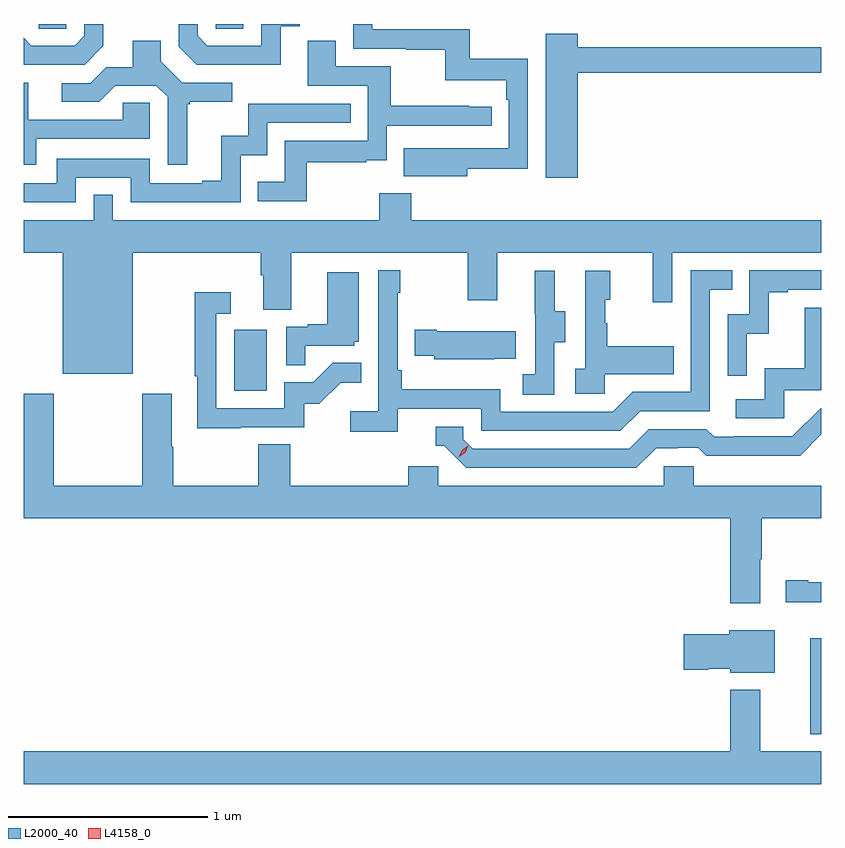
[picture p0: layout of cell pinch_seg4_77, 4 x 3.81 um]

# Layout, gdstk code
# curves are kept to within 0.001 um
import gdstk
lib = gdstk.Library(unit=1e-6, precision=1e-09)
def R(c, l, rs):  # rectangles x0, y0, x1, y1
    for r in rs: c.add(gdstk.rectangle(r[:2], r[2:], *l))
def P(c, l, *ps):  # polygons
    for p in ps: c.add(gdstk.Polygon(p, *l))
L2000_40 = (2000, 40)
L4158_0 = (4158, 0)

pinch_seg4_77 = lib.new_cell('pinch_seg4_77')
R(pinch_seg4_77, L2000_40, [(1059.983,819.713,1060.039,820.195), (1057.094,821.436,1057.258,821.743), (1056.115,823.252,1056.252,823.275), (1057.002,823.252,1057.141,823.275)])
P(pinch_seg4_77, L2000_40, [(1058.263,822.55),(1058.568,822.55),(1058.568,823.102),(1058.275,823.102),(1058.275,823.248),(1057.788,823.248),(1057.788,823.275),(1057.692,823.275),(1057.692,823.152),(1057.957,823.152),(1057.957,823.147),(1058.154,823.147),(1058.154,822.992),(1058.459,822.992),(1058.459,822.896),(1058.472,822.896),(1058.472,822.651),(1058.159,822.651),(1058.159,822.652),(1057.945,822.652),(1057.945,822.512),(1058.263,822.512)],
  [(1057.327,823.263),(1057.423,823.263),(1057.423,823.275),(1057.23,823.275),(1057.23,823.167),(1056.96,823.167),(1056.912,823.215),(1056.912,823.275),(1056.816,823.275),(1056.816,823.161),(1056.906,823.071),(1057.327,823.07)],
  [(1056.439,823.165),(1056.439,823.275),(1056.342,823.275),(1056.342,823.215),(1056.294,823.167),(1056.078,823.167),(1056.039,823.206),(1056.039,823.071),(1056.345,823.071)],
  [(1058.818,823.03),(1060.039,823.03),(1060.039,823.159),(1058.818,823.159),(1058.818,823.225),(1058.657,823.225),(1058.657,822.504),(1058.818,822.504)],
  [(1057.459,822.582),(1057.757,822.582),(1057.757,822.593),(1057.86,822.593),(1057.86,822.765),(1058.386,822.765),(1058.386,822.861),(1058.273,822.861),(1058.273,822.866),(1057.88,822.866),(1057.88,823.062),(1057.603,823.062),(1057.603,823.19),(1057.463,823.19),(1057.463,822.966),(1057.764,822.966),(1057.764,822.69),(1057.348,822.69),(1057.348,822.484),(1057.213,822.484),(1057.213,822.387),(1057.459,822.387)],
  [(1056.859,822.873),(1056.871,822.873),(1056.871,822.884),(1057.084,822.884),(1057.084,822.981),(1056.834,822.981),(1056.727,823.088),(1056.727,823.19),(1056.587,823.19),(1056.587,823.058),(1056.452,823.058),(1056.372,822.978),(1056.231,822.978),(1056.231,822.885),(1056.418,822.885),(1056.499,822.966),(1056.705,822.966),(1056.762,822.909),(1056.762,822.57),(1056.859,822.57)],
  [(1056.103,822.699),(1056.672,822.699),(1056.672,822.879),(1056.535,822.879),(1056.535,822.795),(1056.061,822.795),(1056.061,822.981),(1056.039,822.981),(1056.039,822.57),(1056.103,822.57)],
  [(1056.3,822.504),(1056.576,822.504),(1056.576,822.381),(1057.128,822.381),(1057.128,822.617),(1057.26,822.617),(1057.26,822.78),(1057.679,822.78),(1057.679,822.876),(1057.164,822.876),(1057.164,822.715),(1057.031,822.715),(1057.031,822.49),(1056.935,822.49),(1056.935,822.477),(1056.672,822.477),(1056.672,822.6),(1056.204,822.6),(1056.204,822.477),(1056.039,822.477),(1056.039,822.381),(1056.3,822.381)],
  [(1056.586,822.128),(1057.229,822.128),(1057.229,822.016),(1057.241,822.016),(1057.241,821.842),(1057.381,821.842),(1057.381,822.128),(1058.266,822.128),(1058.266,821.889),(1058.413,821.889),(1058.413,822.128),(1059.194,822.128),(1059.194,821.88),(1059.291,821.88),(1059.291,822.128),(1060.039,822.128),(1060.039,822.292),(1057.982,822.292),(1057.982,822.427),(1057.822,822.427),(1057.822,822.292),(1056.486,822.292),(1056.486,822.419),(1056.39,822.419),(1056.39,822.292),(1056.039,822.292),(1056.039,822.128),(1056.236,822.128),(1056.236,821.522),(1056.586,821.522)],
  [(1057.916,821.346),(1058.334,821.346),(1058.334,821.235),(1059.031,821.235),(1059.13,821.334),(1059.48,821.334),(1059.48,821.943),(1059.593,821.943),(1059.593,822.039),(1059.384,822.039),(1059.384,821.43),(1059.093,821.43),(1058.994,821.331),(1058.43,821.331),(1058.43,821.443),(1057.934,821.443),(1057.934,821.539),(1057.914,821.539),(1057.914,821.927),(1057.927,821.927),(1057.927,822.04),(1057.818,822.04),(1057.818,821.332),(1057.677,821.332),(1057.677,821.23),(1057.916,821.23)],
  [(1059.666,821.723),(1059.776,821.723),(1059.776,821.931),(1059.871,821.931),(1059.871,821.943),(1060.039,821.943),(1060.039,822.039),(1059.678,822.039),(1059.678,821.82),(1059.57,821.82),(1059.57,821.511),(1059.666,821.511)],
  [(1058.952,821.519),(1059.299,821.519),(1059.299,821.659),(1058.965,821.659),(1058.965,821.774),(1058.955,821.774),(1058.955,821.892),(1058.98,821.892),(1058.98,822.037),(1058.856,822.037),(1058.856,821.546),(1058.805,821.546),(1058.805,821.421),(1058.952,821.421)],
  [(1058.7,821.68),(1058.755,821.68),(1058.755,821.835),(1058.701,821.835),(1058.701,822.037),(1058.603,822.037),(1058.603,821.823),(1058.604,821.823),(1058.604,821.519),(1058.541,821.519),(1058.541,821.416),(1058.7,821.416)],
  [(1057.451,821.661),(1057.698,821.661),(1057.698,821.682),(1057.72,821.682),(1057.72,822.031),(1057.562,822.031),(1057.562,821.77),(1057.463,821.77),(1057.463,821.757),(1057.356,821.757),(1057.356,821.563),(1057.451,821.563)],
  [(1057.127,821.253),(1057.446,821.253),(1057.446,821.37),(1057.522,821.37),(1057.629,821.477),(1057.733,821.477),(1057.733,821.576),(1057.589,821.576),(1057.491,821.478),(1057.347,821.478),(1057.347,821.349),(1057.005,821.349),(1057.005,821.823),(1057.078,821.823),(1057.078,821.929),(1056.897,821.929),(1056.897,821.509),(1056.909,821.509),(1056.909,821.248),(1057.127,821.248)],
  [(1059.852,821.439),(1060.039,821.439),(1060.039,821.851),(1059.955,821.851),(1059.955,821.548),(1059.756,821.548),(1059.756,821.394),(1059.609,821.394),(1059.609,821.298),(1059.852,821.298)],
  [(1058.399,821.597),(1058.507,821.597),(1058.507,821.734),(1058.11,821.734),(1058.11,821.742),(1057.999,821.742),(1057.999,821.612),(1058.097,821.612),(1058.097,821.594),(1058.399,821.594)],
  [(1059.733,820.592),(1059.741,820.592),(1059.741,820.796),(1060.039,820.796),(1060.039,820.96),(1059.399,820.96),(1059.399,821.058),(1059.249,821.058),(1059.249,820.96),(1058.118,820.96),(1058.118,821.058),(1057.967,821.058),(1057.967,820.96),(1057.376,820.96),(1057.376,821.168),(1057.216,821.168),(1057.216,820.96),(1056.789,820.96),(1056.789,821.156),(1056.781,821.156),(1056.781,821.422),(1056.634,821.422),(1056.634,820.96),(1056.189,820.96),(1056.189,821.422),(1056.039,821.422),(1056.039,820.796),(1059.581,820.796),(1059.581,820.371),(1059.733,820.371)],
  [(1059.211,821.148),(1059.318,821.148),(1059.318,821.151),(1059.421,821.151),(1059.463,821.109),(1059.696,821.109),(1059.696,821.111),(1059.932,821.111),(1060.039,821.218),(1060.039,821.349),(1060.035,821.349),(1059.894,821.208),(1059.601,821.208),(1059.601,821.205),(1059.502,821.205),(1059.463,821.244),(1059.174,821.244),(1059.075,821.145),(1058.292,821.145),(1058.244,821.193),(1058.244,821.256),(1058.105,821.256),(1058.105,821.16),(1058.148,821.16),(1058.259,821.049),(1059.112,821.049)],
  [(1060.039,820.476),(1059.973,820.476),(1059.973,820.486),(1059.861,820.486),(1059.861,820.376),(1060.039,820.376)],
  [(1059.805,820.234),(1059.578,820.234),(1059.578,820.214),(1059.348,820.214),(1059.348,820.036),(1059.471,820.036),(1059.471,820.043),(1059.582,820.043),(1059.582,820.022),(1059.805,820.022)],
  [(1060.039,819.628),(1059.733,819.628),(1059.733,819.937),(1059.581,819.937),(1059.581,819.628),(1056.039,819.628),(1056.039,819.464),(1060.039,819.464)])
P(pinch_seg4_77, L4158_0, [(1058.222,821.105),(1058.222,821.106),(1058.238,821.139),(1058.268,821.159),(1058.268,821.159),(1058.268,821.159),(1058.253,821.126),(1058.223,821.105)])

lib.write_gds('pinch_seg4_77.gds')
